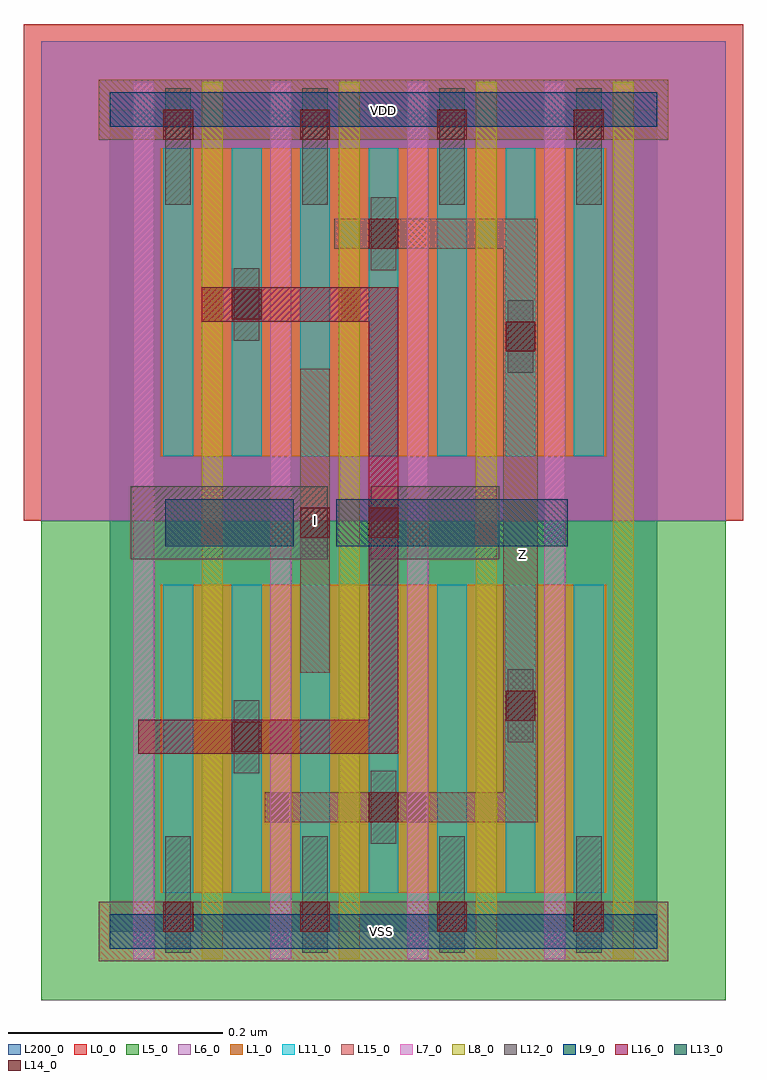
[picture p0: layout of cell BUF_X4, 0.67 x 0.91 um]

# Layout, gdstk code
import gdstk
lib = gdstk.Library(unit=1e-6, precision=1e-09)
def R(c, l, rs):  # rectangles x0, y0, x1, y1
    for r in rs: c.add(gdstk.rectangle(r[:2], r[2:], *l))
def A(c, l, x, y, w, h, nx, ny, dx, dy):  # array of equal rectangles
    R(c, l, [(x+i*dx, y+j*dy, x+i*dx+w, y+j*dy+h) for i in range(nx) for j in range(ny)])
def P(c, l, *ps):  # polygons
    for p in ps: c.add(gdstk.Polygon(p, *l))
L0_0 = (0, 0)
L1_0 = (1, 0)
L5_0 = (5, 0)
L6_0 = (6, 0)
L7_0 = (7, 0)
L8_0 = (8, 0)
L9_0 = (9, 0)
L11_0 = (11, 0)
L12_0 = (12, 0)
L13_0 = (13, 0)
L14_0 = (14, 0)
L15_0 = (15, 0)
L16_0 = (16, 0)
L200_0 = (200, 0)

buf_x4 = lib.new_cell('BUF_X4')
R(buf_x4, L0_0, [(-0.08,0.384,0.592,0.848)])
R(buf_x4, L1_0, [(0.048,0.036,0.464,0.324), (0.048,0.444,0.464,0.732)])
R(buf_x4, L5_0, [(-0.064,-0.064,0.576,0.384)])
R(buf_x4, L6_0, [(-0.064,0.384,0.576,0.832)])
A(buf_x4, L7_0, 0.022, -0.026, 0.02, 0.82, 4, 1, 0.128, 0)
A(buf_x4, L8_0, 0.086, -0.026, 0.02, 0.82, 4, 1, 0.128, 0)
R(buf_x4, L9_0, [(0,-0.016,0.512,0.016), (0,0.752,0.512,0.784)])
A(buf_x4, L11_0, 0.05, 0.036, 0.028, 0.288, 7, 2, 0.064, 0.408)
A(buf_x4, L12_0, 0.052, -0.02, 0.024, 0.109, 4, 2, 0.128, 0.699)
R(buf_x4, L12_0, [(0.244,0.082,0.268,0.15), (0.116,0.148,0.14,0.216), (0.372,0.177,0.396,0.245), (0.02,0.348,0.204,0.416), (0.244,0.348,0.364,0.416), (0.372,0.522,0.396,0.59), (0.116,0.552,0.14,0.62), (0.244,0.618,0.268,0.686)])
R(buf_x4, L13_0, [(0.052,0.36,0.172,0.404), (0.212,0.36,0.428,0.404)])
A(buf_x4, L14_0, 0.05, 0, 0.028, 0.028, 4, 2, 0.128, 0.74)
R(buf_x4, L14_0, [(0.242,0.102,0.27,0.13), (0.114,0.168,0.142,0.196), (0.37,0.197,0.398,0.225), (0.178,0.368,0.206,0.396), (0.242,0.368,0.27,0.396), (0.37,0.542,0.398,0.57), (0.114,0.572,0.142,0.6), (0.242,0.638,0.27,0.666)])
R(buf_x4, L15_0, [(-0.01,-0.028,0.522,0.028), (0.178,0.242,0.206,0.526), (-0.01,0.74,0.522,0.796)])
P(buf_x4, L15_0, [(0.21,0.638),(0.368,0.638),(0.368,0.13),(0.145,0.13),(0.145,0.102),(0.4,0.102),(0.4,0.666),(0.21,0.666)])
P(buf_x4, L16_0, [(0.086,0.57),(0.242,0.57),(0.242,0.198),(0.027,0.198),(0.027,0.166),(0.27,0.166),(0.27,0.602),(0.086,0.602)])
R(buf_x4, L200_0, [(0,0,0.512,0.768)])
buf_x4.add(gdstk.Label('VSS', (0.254,0), layer=15, texttype=20))
buf_x4.add(gdstk.Label('VDD', (0.256,0.767), layer=15, texttype=20))
buf_x4.add(gdstk.Label('I', (0.192,0.384), layer=15, texttype=20))
buf_x4.add(gdstk.Label('Z', (0.386,0.352), layer=15, texttype=20))

lib.write_gds('BUF_X4.gds')
